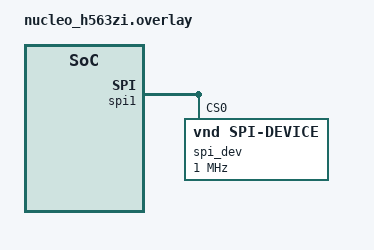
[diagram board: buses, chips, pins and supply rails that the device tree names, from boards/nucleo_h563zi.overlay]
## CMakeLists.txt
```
#-------------------------------------------------------------------------------
# Zephyr Example Application
#
# Copyright (c) 2021 Nordic Semiconductor ASA
# SPDX-License-Identifier: Apache-2.0

cmake_minimum_required(VERSION 3.20.0)

find_package(Zephyr REQUIRED HINTS $ENV{ZEPHYR_BASE})
project(my_zephyr_app)

project(app LANGUAGES C)

target_sources(app PRIVATE src/spi_example.c)
```

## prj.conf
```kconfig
# Copyright (c) 2021 Nordic Semiconductor ASA
# SPDX-License-Identifier: Apache-2.0
#
# This file contains selected Kconfig options for the application.

CONFIG_ESP32_SPIM=y
CONFIG_SPI=y
```

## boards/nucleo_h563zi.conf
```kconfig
# This override keeps base prj.conf intact for ESP32 builds, just in case.
CONFIG_ESP32_SPIM=n
```

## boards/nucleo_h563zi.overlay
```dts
// SPI device on the Nucleo H563ZI's SPI1 controller.
// SPI1 is already enabled with pinctrl in the board DTS:
// SCK = PA5
// MISO = PG9
// MOSI = PB5
// CS = PD14
// Taken from nucleo_h563zi-common.dtsi

&spi1 {
    spi_dev: spi_dev@0 {
        compatible = "vnd,spi-device";
        reg = <0>;
        spi-max-frequency = <1000000>;
        label = "spi_dev";
    };
};
```

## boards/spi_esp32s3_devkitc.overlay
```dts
// spi controller
&spi2 {
    // This right here expects CONFIG_ESP32_SPIM=y
	compatible = "espressif,esp32-spi";

    // already defined in zephyr/boards/espressif/esp32s3_devkitc/esp32s3_devkitc_procpu.dts
	// redundant but here for clarity
	status = "okay";
    pinctrl-0 = <&spim2_default>;
    pinctrl-names = "default";

	// custom settings; I have defined this myself.
    cs-gpios = <&gpio0 10 GPIO_ACTIVE_LOW>;

    // creating the spi device on the spi controller! 
    // note; in cs_gpios, I defined an array of 1. This is the cs_gpio of index 0.
    spi_dev: spi_dev@0 {
        // this right here expects CONFIG_SPI=y
        compatible = "vnd,spi-device";

        // the cs gpio at index 0 in cs-gpios
        reg = <0>;
        spi-max-frequency = <90000>;

        // we will use this to get with DT_NODELABEL.
        label = "spi_dev";
    };
};

// already defined in zephyr/boards/espressif/esp32s3_devkitc/esp32s3_devkitc-pinctrl.dtsi
// redundant but here for clarity
&pinctrl {
	spim2_default: spim2_default {
		group1 {
			pinmux = 
                <SPIM2_MISO_GPIO13>,
				 <SPIM2_SCLK_GPIO12>,
				 <SPIM2_CSEL_GPIO10>;
		};

        // MOSI will be 0 on start.
        // defined in a different group because it has different settings than group 1 pins.
		group2 {
			pinmux = <SPIM2_MOSI_GPIO11>;
			output-low;
		};
	};
};
```

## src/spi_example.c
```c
#include <zephyr/drivers/spi.h>
#include <zephyr/devicetree.h>

// our own specifiers
#define LEN_TRANSCEIVE 4
#define DELAY 0
#define SPI_DEVICE_NAME spi_dev

// operation flags we want
static const spi_operation_t operation_flags = (

    SPI_OP_MODE_MASTER |
    SPI_TRANSFER_MSB |
    SPI_WORD_SET(8));

static const struct spi_dt_spec spi_device = SPI_DT_SPEC_GET(
    DT_NODELABEL(SPI_DEVICE_NAME),
    operation_flags,
    DELAY);

int main()
{
    /*
    - I want to read four bytes so I need a four-byte array.
    - That array needs to be a member of a spi_buf
    - spi_buf needs to be a member of a spi_buf_set
    */
    // read
    uint8_t read_buf[LEN_TRANSCEIVE] = {0};
    struct spi_buf spi_read_buf = {&read_buf, LEN_TRANSCEIVE};
    const struct spi_buf_set rx_buf = {&spi_read_buf, 1};

    // write
    uint8_t write_buf[LEN_TRANSCEIVE] = {0};
    struct spi_buf spi_write_buf = {&write_buf, LEN_TRANSCEIVE};
    const struct spi_buf_set tx_buf = {&spi_write_buf, 1};

    // populate the write buffer
    for (int i = 0; i < LEN_TRANSCEIVE; i++)
        write_buf[i] = i;

    // transceive
    int transceive_res = spi_transceive_dt(
        &spi_device,
        &tx_buf,
        &rx_buf);

    // transceive result should be 0 (if master, which we are) upon end.
    if (transceive_res)
    {
        printk("Error on transcceiving\n");
        return 1;
    }

    // print out what has been read
    for (int i = 0; i < LEN_TRANSCEIVE; i++)
        printk("received word %d: %d\n", i, read_buf[i]);

    return 0;
}
```
